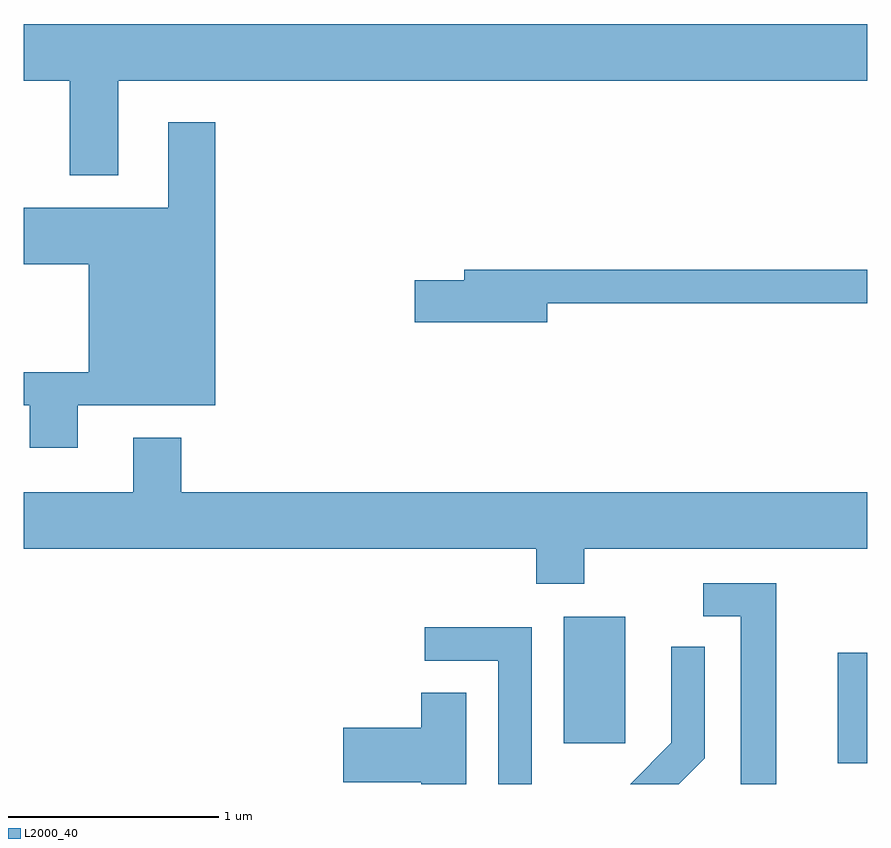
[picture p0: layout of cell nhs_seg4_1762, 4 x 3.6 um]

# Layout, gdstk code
import gdstk
lib = gdstk.Library(unit=1e-6, precision=1e-09)
def R(c, l, rs):  # rectangles x0, y0, x1, y1
    for r in rs: c.add(gdstk.rectangle(r[:2], r[2:], *l))
def P(c, l, *ps):  # polygons
    for p in ps: c.add(gdstk.Polygon(p, *l))
L2000_40 = (2000, 40)

nhs_seg4_1762 = lib.new_cell('nhs_seg4_1762')
R(nhs_seg4_1762, L2000_40, [(239.471,1378.081,239.611,1378.604), (238.171,1378.176,238.464,1378.774)])
P(nhs_seg4_1762, L2000_40, [(236.059,1381.316),(239.611,1381.316),(239.611,1381.584),(235.611,1381.584),(235.611,1381.316),(235.831,1381.316),(235.831,1380.866),(236.059,1380.866)],
  [(235.869,1379.776),(236.519,1379.776),(236.519,1381.119),(236.296,1381.119),(236.296,1380.714),(235.611,1380.714),(235.611,1380.446),(235.921,1380.446),(235.921,1379.934),(235.611,1379.934),(235.611,1379.776),(235.641,1379.776),(235.641,1379.576),(235.869,1379.576)],
  [(238.094,1380.261),(239.611,1380.261),(239.611,1380.419),(237.701,1380.419),(237.701,1380.369),(237.466,1380.369),(237.466,1380.171),(238.094,1380.171)],
  [(238.269,1379.096),(239.611,1379.096),(239.611,1379.364),(236.359,1379.364),(236.359,1379.624),(236.131,1379.624),(236.131,1379.364),(235.611,1379.364),(235.611,1379.096),(238.041,1379.096),(238.041,1378.931),(238.269,1378.931)],
  [(239.179,1378.934),(238.833,1378.934),(238.833,1378.776),(239.011,1378.776),(239.011,1377.982),(239.179,1377.982)],
  [(238.019,1378.724),(237.513,1378.724),(237.513,1378.566),(237.861,1378.566),(237.861,1377.982),(238.019,1377.982)],
  [(238.839,1378.104),(238.839,1378.633),(238.681,1378.633),(238.681,1378.177),(238.486,1377.982),(238.717,1377.982)],
  [(237.709,1378.414),(237.496,1378.414),(237.496,1378.249),(237.126,1378.249),(237.126,1377.991),(237.496,1377.991),(237.496,1377.982),(237.709,1377.982)])

lib.write_gds('nhs_seg4_1762.gds')
